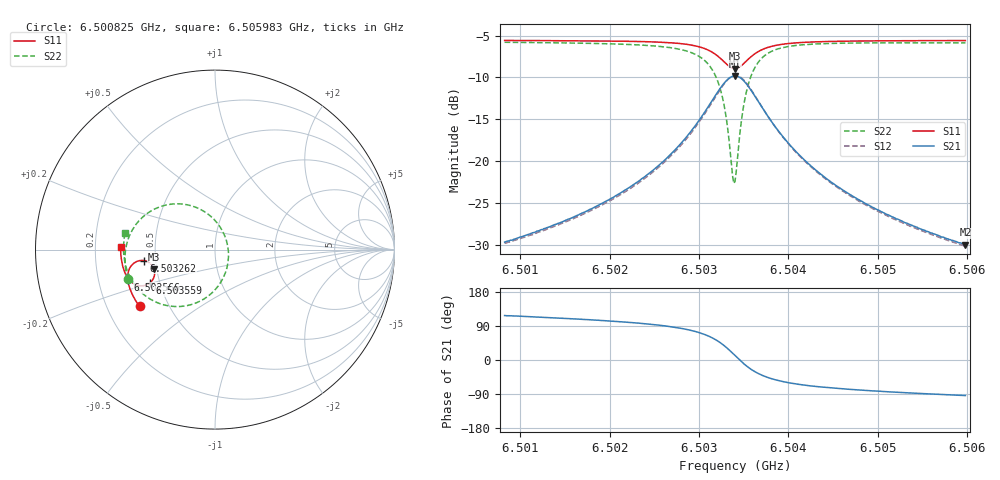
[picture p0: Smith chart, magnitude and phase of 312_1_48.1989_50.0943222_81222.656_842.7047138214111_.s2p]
#  HZ  S  RI  R  50.00
! Rohde & Schwarz Vector Network Analyzer
! Rohde-Schwarz,ZNB20-2Port,1311601062101988,3.16
! Created: UTC 3/20/2024, 11:50:01 AM
! freq[Hz]  re:S11  im:S11  re:S21  im:S21  re:S12  im:S12  re:S22  im:S22
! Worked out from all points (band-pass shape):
!   401 points, 6.500825 GHz to 6.505983 GHz, reference 50 ohm
!   highest |S21| = -9.81 dB at 6.503404 GHz (marker M1); lowest = -30.0 dB at 6.505983 GHz (marker M2)
!   |S21| within 3 dB of the highest: 6.503146 GHz to 6.503661 GHz (515.7 kHz wide, 0.00793 % of centre)
!   lowest |S11| = -9.0 dB at 6.503404 GHz (marker M3), VSWR 2.11, Z = 24.2 - j6.09 ohm
!   |S11| at or under -10 dB: nowhere
!   |S22| runs from -22.7 to -5.8 dB; largest |S21 - S12| = 0.011
!   S11 on the Smith chart (normalised r, x): 6.500825 GHz: 0.34, -0.30; 6.502566 GHz: 0.33, -0.15; 6.503262 GHz: 0.43, -0.06; 6.503559 GHz: 0.44, -0.20; 6.505983 GHz: 0.31, +0.01
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6.500825e9  -0.4205 -0.317  -0.015 0.029  -0.0134 0.0293  -0.4863 -0.1653
6.501689e9  -0.4585 -0.2541  -0.0145 0.0465  -0.012 0.0461  -0.5014 -0.0754
6.5021661e9  -0.4757 -0.2126  -0.0117 0.0656  -0.00877 0.0644  -0.4995 -0.00923
6.502553e9  -0.4854 -0.1707  -0.00301 0.0942  0.000393 0.0921  -0.4813 0.0655
6.5025659e9  -0.4855 -0.1691  -0.00264 0.0957  0.00105 0.0934  -0.4802 0.0687
6.5028109e9  -0.485 -0.1339  0.0156 0.1286  0.0194 0.1249  -0.442 0.1381
6.5029915e9  -0.4737 -0.1008  0.0499 0.1645  0.0533 0.1591  -0.3741 0.2039
6.5031591e9  -0.4392 -0.0678  0.1269 0.1974  0.1283 0.1912  -0.2327 0.2543
6.5032623e9  -0.3969 -0.061  0.2115 0.1884  0.2119 0.1833  -0.0856 0.2265
6.5033139e9  -0.3718 -0.0696  0.2593 0.1606  0.2601 0.1561  -0.00638 0.1693
6.5033784e9  -0.3455 -0.0957  0.3062 0.0978  0.3088 0.0927  0.0642 0.0484
6.5034042e9  -0.3393 -0.11  0.3162 0.0662  0.3193 0.0602  0.0747 -0.0107
6.5034171e9  -0.3375 -0.1176  0.3188 0.0494  0.322 0.0431  0.0751 -0.0409
6.5034944e9  -0.3436 -0.1617  0.3017 -0.0436  0.3036 -0.0533  0.0174 -0.2034
6.5035589e9  -0.3646 -0.187  0.2596 -0.0964  0.2584 -0.1075  -0.0773 -0.2842
6.5036621e9  -0.4034 -0.2016  0.1864 -0.1319  0.181 -0.1411  -0.2243 -0.3171
6.5038297e9  -0.4487 -0.1918  0.1064 -0.1289  0.0996 -0.1339  -0.3684 -0.2712
6.5040103e9  -0.4757 -0.1704  0.0627 -0.1095  0.0567 -0.1116  -0.439 -0.2073
6.5042682e9  -0.4964 -0.1404  0.0335 -0.0858  0.0286 -0.0862  -0.4816 -0.1361
6.504668e9  -0.5121 -0.0994  0.0143 -0.0625  0.0111 -0.0622  -0.5042 -0.0597
6.5051322e9  -0.521 -0.0569  0.00485 -0.047  0.00279 -0.0463  -0.5097 0.00388
6.5059834e9  -0.5257 0.0146  -0.00211 -0.0314  -0.00333 -0.0307  -0.5014 0.0923
